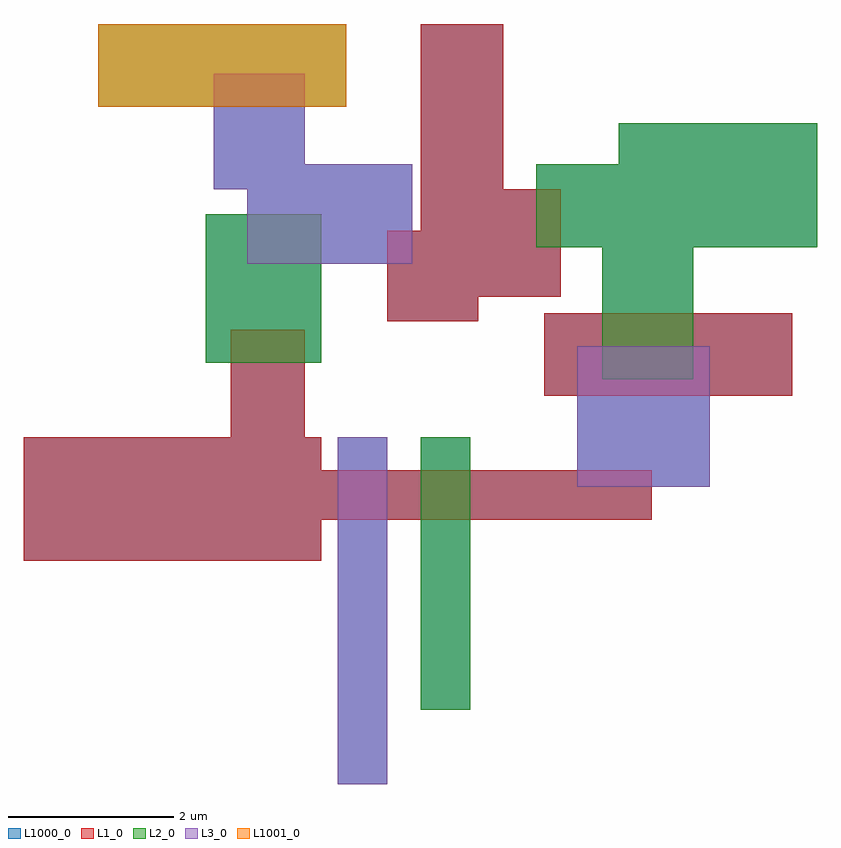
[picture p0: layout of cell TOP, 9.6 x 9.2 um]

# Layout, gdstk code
import gdstk
lib = gdstk.Library(unit=1e-6, precision=1e-09)
def R(c, l, rs):  # rectangles x0, y0, x1, y1
    for r in rs: c.add(gdstk.rectangle(r[:2], r[2:], *l))
L1_0 = (1, 0)
L2_0 = (2, 0)
L3_0 = (3, 0)
L1000_0 = (1000, 0)
L1001_0 = (1001, 0)

c_c1 = lib.new_cell('C1')
R(c_c1, L1_0, [(-2.7,-3.3,-1.8,-0.9), (-2.1,-3.2,2.4,-2.6), (-0.8,-0.8,0.3,0.3), (-0.1,-0.5,1.3,0.8)])
R(c_c1, L2_0, [(1.8,-1.5,2.9,0.6), (-3,-1.3,-1.6,0.5), (1,0.1,2.5,1.1)])
R(c_c1, L3_0, [(1.5,-2.8,3.1,-1.1), (-2.5,-0.1,-0.5,1.1), (-2.9,0.8,-1.8,2.2)])

top = lib.new_cell('TOP')
R(top, L1_0, [(-5.5,-3.4,-1.9,-1.9), (0.8,-1.4,3.8,-0.4), (-0.7,0.1,0.3,3.1)])
R(top, L2_0, [(-0.7,-5.2,-0.1,-1.9), (1.7,0.4,4.1,1.9), (-4.6,2.1,-1.6,3.1)])
R(top, L3_0, [(-1.7,-6.1,-1.1,-1.9)])
R(top, L1000_0, [(-1.7,-6.1,-1.1,-1.9), (-0.7,-5.2,-0.1,-1.9), (-5.5,-3.4,-1.9,-1.9), (-3,-3,-2.1,-0.6), (-2.4,-2.9,2.1,-2.3), (1.2,-2.5,2.8,-0.8), (0.8,-1.4,3.8,-0.4), (1.5,-1.2,2.6,0.9), (-3.3,-1,-1.9,0.8), (-1.1,-0.5,0,0.6), (-0.4,-0.2,1,1.1), (-0.7,0.1,0.3,3.1), (-2.8,0.2,-0.8,1.4), (0.7,0.4,2.2,1.4), (1.7,0.4,4.1,1.9), (-3.2,1.1,-2.1,2.5)])
R(top, L1001_0, [(-4.6,2.1,-1.6,3.1)])
top.add(gdstk.Reference(c_c1, (-0.3,0.3)))

lib.write_gds('TOP.gds')
